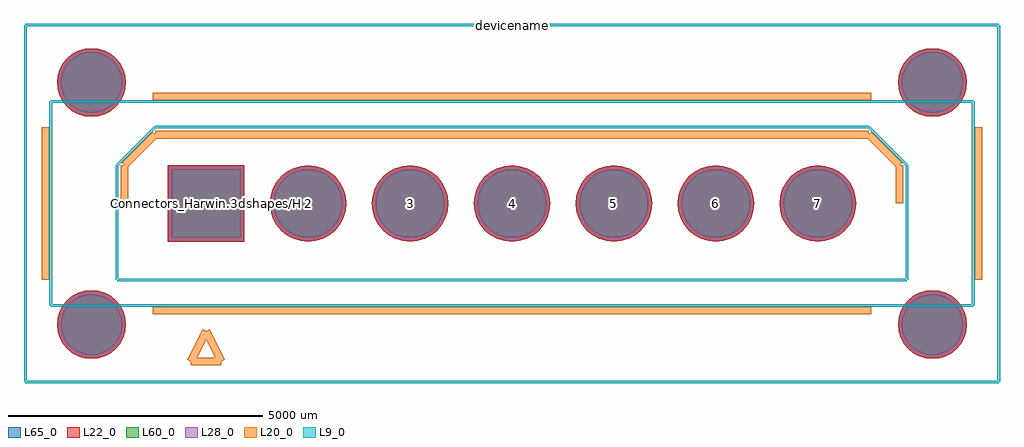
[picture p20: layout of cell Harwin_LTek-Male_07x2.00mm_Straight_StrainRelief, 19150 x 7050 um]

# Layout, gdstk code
import gdstk
lib = gdstk.Library(unit=1e-6, precision=1e-09)
def R(c, l, rs):  # rectangles x0, y0, x1, y1
    for r in rs: c.add(gdstk.rectangle(r[:2], r[2:], *l))
def P(c, l, *ps):  # polygons
    for p in ps: c.add(gdstk.Polygon(p, *l))
L9_0 = (9, 0)
L20_0 = (20, 0)
L22_0 = (22, 0)
L28_0 = (28, 0)
L60_0 = (60, 0)
L65_0 = (65, 0)

harwin_ltek_male_07x2_00 = lib.new_cell('Harwin_LTek-Male_07x2.00mm_Straight_StrainRelief')
R(harwin_ltek_male_07x2_00, L22_0, [(-750,-750,750,750)])
P(harwin_ltek_male_07x2_00, L22_0, [(14925,-2375),(14912.03,-2243.314),(14873.619,-2116.689),(14811.242,-1999.99),(14727.297,-1897.703),(14625.01,-1813.758),(14508.311,-1751.381),(14381.686,-1712.97),(14250,-1700),(14118.314,-1712.97),(13991.689,-1751.381),(13874.99,-1813.758),(13772.703,-1897.703),(13688.758,-1999.99),(13626.381,-2116.689),(13587.97,-2243.314),(13575,-2375),(13587.97,-2506.686),(13626.381,-2633.311),(13688.758,-2750.01),(13772.703,-2852.297),(13874.99,-2936.242),(13991.689,-2998.619),(14118.314,-3037.03),(14250,-3050),(14381.686,-3037.03),(14508.311,-2998.619),(14625.01,-2936.242),(14727.297,-2852.297),(14811.242,-2750.01),(14873.619,-2633.311),(14912.03,-2506.686)],
  [(14925,2375),(14912.03,2506.686),(14873.619,2633.311),(14811.242,2750.01),(14727.297,2852.297),(14625.01,2936.242),(14508.311,2998.619),(14381.686,3037.03),(14250,3050),(14118.314,3037.03),(13991.689,2998.619),(13874.99,2936.242),(13772.703,2852.297),(13688.758,2750.01),(13626.381,2633.311),(13587.97,2506.686),(13575,2375),(13587.97,2243.314),(13626.381,2116.689),(13688.758,1999.99),(13772.703,1897.703),(13874.99,1813.758),(13991.689,1751.381),(14118.314,1712.97),(14250,1700),(14381.686,1712.97),(14508.311,1751.381),(14625.01,1813.758),(14727.297,1897.703),(14811.242,1999.99),(14873.619,2116.689),(14912.03,2243.314)],
  [(-1575,-2375),(-1587.97,-2243.314),(-1626.381,-2116.689),(-1688.758,-1999.99),(-1772.703,-1897.703),(-1874.99,-1813.758),(-1991.689,-1751.381),(-2118.314,-1712.97),(-2250,-1700),(-2381.686,-1712.97),(-2508.311,-1751.381),(-2625.01,-1813.758),(-2727.297,-1897.703),(-2811.242,-1999.99),(-2873.619,-2116.689),(-2912.03,-2243.314),(-2925,-2375),(-2912.03,-2506.686),(-2873.619,-2633.311),(-2811.242,-2750.01),(-2727.297,-2852.297),(-2625.01,-2936.242),(-2508.311,-2998.619),(-2381.686,-3037.03),(-2250,-3050),(-2118.314,-3037.03),(-1991.689,-2998.619),(-1874.99,-2936.242),(-1772.703,-2852.297),(-1688.758,-2750.01),(-1626.381,-2633.311),(-1587.97,-2506.686)],
  [(-1575,2375),(-1587.97,2506.686),(-1626.381,2633.311),(-1688.758,2750.01),(-1772.703,2852.297),(-1874.99,2936.242),(-1991.689,2998.619),(-2118.314,3037.03),(-2250,3050),(-2381.686,3037.03),(-2508.311,2998.619),(-2625.01,2936.242),(-2727.297,2852.297),(-2811.242,2750.01),(-2873.619,2633.311),(-2912.03,2506.686),(-2925,2375),(-2912.03,2243.314),(-2873.619,2116.689),(-2811.242,1999.99),(-2727.297,1897.703),(-2625.01,1813.758),(-2508.311,1751.381),(-2381.686,1712.97),(-2250,1700),(-2118.314,1712.97),(-1991.689,1751.381),(-1874.99,1813.758),(-1772.703,1897.703),(-1688.758,1999.99),(-1626.381,2116.689),(-1587.97,2243.314)],
  [(12750,0),(12735.589,146.318),(12692.91,287.013),(12623.602,416.678),(12530.33,530.33),(12416.678,623.602),(12287.013,692.91),(12146.318,735.589),(12000,750),(11853.682,735.589),(11712.987,692.91),(11583.322,623.602),(11469.67,530.33),(11376.398,416.678),(11307.09,287.013),(11264.411,146.318),(11250,0),(11264.411,-146.318),(11307.09,-287.013),(11376.398,-416.678),(11469.67,-530.33),(11583.322,-623.602),(11712.987,-692.91),(11853.682,-735.589),(12000,-750),(12146.318,-735.589),(12287.013,-692.91),(12416.678,-623.602),(12530.33,-530.33),(12623.602,-416.678),(12692.91,-287.013),(12735.589,-146.318)],
  [(10750,0),(10735.589,146.318),(10692.91,287.013),(10623.602,416.678),(10530.33,530.33),(10416.678,623.602),(10287.013,692.91),(10146.318,735.589),(10000,750),(9853.682,735.589),(9712.987,692.91),(9583.322,623.602),(9469.67,530.33),(9376.398,416.678),(9307.09,287.013),(9264.411,146.318),(9250,0),(9264.411,-146.318),(9307.09,-287.013),(9376.398,-416.678),(9469.67,-530.33),(9583.322,-623.602),(9712.987,-692.91),(9853.682,-735.589),(10000,-750),(10146.318,-735.589),(10287.013,-692.91),(10416.678,-623.602),(10530.33,-530.33),(10623.602,-416.678),(10692.91,-287.013),(10735.589,-146.318)],
  [(8750,0),(8735.589,146.318),(8692.91,287.013),(8623.602,416.678),(8530.33,530.33),(8416.678,623.602),(8287.013,692.91),(8146.318,735.589),(8000,750),(7853.682,735.589),(7712.987,692.91),(7583.322,623.602),(7469.67,530.33),(7376.398,416.678),(7307.09,287.013),(7264.411,146.318),(7250,0),(7264.411,-146.318),(7307.09,-287.013),(7376.398,-416.678),(7469.67,-530.33),(7583.322,-623.602),(7712.987,-692.91),(7853.682,-735.589),(8000,-750),(8146.318,-735.589),(8287.013,-692.91),(8416.678,-623.602),(8530.33,-530.33),(8623.602,-416.678),(8692.91,-287.013),(8735.589,-146.318)],
  [(6750,0),(6735.589,146.318),(6692.91,287.013),(6623.602,416.678),(6530.33,530.33),(6416.678,623.602),(6287.013,692.91),(6146.318,735.589),(6000,750),(5853.682,735.589),(5712.987,692.91),(5583.322,623.602),(5469.67,530.33),(5376.398,416.678),(5307.09,287.013),(5264.411,146.318),(5250,0),(5264.411,-146.318),(5307.09,-287.013),(5376.398,-416.678),(5469.67,-530.33),(5583.322,-623.602),(5712.987,-692.91),(5853.682,-735.589),(6000,-750),(6146.318,-735.589),(6287.013,-692.91),(6416.678,-623.602),(6530.33,-530.33),(6623.602,-416.678),(6692.91,-287.013),(6735.589,-146.318)],
  [(4750,0),(4735.589,146.318),(4692.91,287.013),(4623.602,416.678),(4530.33,530.33),(4416.678,623.602),(4287.013,692.91),(4146.318,735.589),(4000,750),(3853.682,735.589),(3712.987,692.91),(3583.322,623.602),(3469.67,530.33),(3376.398,416.678),(3307.09,287.013),(3264.411,146.318),(3250,0),(3264.411,-146.318),(3307.09,-287.013),(3376.398,-416.678),(3469.67,-530.33),(3583.322,-623.602),(3712.987,-692.91),(3853.682,-735.589),(4000,-750),(4146.318,-735.589),(4287.013,-692.91),(4416.678,-623.602),(4530.33,-530.33),(4623.602,-416.678),(4692.91,-287.013),(4735.589,-146.318)],
  [(2750,0),(2735.589,146.318),(2692.91,287.013),(2623.602,416.678),(2530.33,530.33),(2416.678,623.602),(2287.013,692.91),(2146.318,735.589),(2000,750),(1853.682,735.589),(1712.987,692.91),(1583.322,623.602),(1469.67,530.33),(1376.398,416.678),(1307.09,287.013),(1264.411,146.318),(1250,0),(1264.411,-146.318),(1307.09,-287.013),(1376.398,-416.678),(1469.67,-530.33),(1583.322,-623.602),(1712.987,-692.91),(1853.682,-735.589),(2000,-750),(2146.318,-735.589),(2287.013,-692.91),(2416.678,-623.602),(2530.33,-530.33),(2623.602,-416.678),(2692.91,-287.013),(2735.589,-146.318)])
R(harwin_ltek_male_07x2_00, L28_0, [(-675,-675,675,675)])
P(harwin_ltek_male_07x2_00, L28_0, [(14850,-2375),(14838.471,-2257.946),(14804.328,-2145.39),(14748.882,-2041.658),(14674.264,-1950.736),(14583.342,-1876.118),(14479.61,-1820.672),(14367.054,-1786.529),(14250,-1775),(14132.946,-1786.529),(14020.39,-1820.672),(13916.658,-1876.118),(13825.736,-1950.736),(13751.118,-2041.658),(13695.672,-2145.39),(13661.529,-2257.946),(13650,-2375),(13661.529,-2492.054),(13695.672,-2604.61),(13751.118,-2708.342),(13825.736,-2799.264),(13916.658,-2873.882),(14020.39,-2929.328),(14132.946,-2963.471),(14250,-2975),(14367.054,-2963.471),(14479.61,-2929.328),(14583.342,-2873.882),(14674.264,-2799.264),(14748.882,-2708.342),(14804.328,-2604.61),(14838.471,-2492.054)],
  [(14850,2375),(14838.471,2492.054),(14804.328,2604.61),(14748.882,2708.342),(14674.264,2799.264),(14583.342,2873.882),(14479.61,2929.328),(14367.054,2963.471),(14250,2975),(14132.946,2963.471),(14020.39,2929.328),(13916.658,2873.882),(13825.736,2799.264),(13751.118,2708.342),(13695.672,2604.61),(13661.529,2492.054),(13650,2375),(13661.529,2257.946),(13695.672,2145.39),(13751.118,2041.658),(13825.736,1950.736),(13916.658,1876.118),(14020.39,1820.672),(14132.946,1786.529),(14250,1775),(14367.054,1786.529),(14479.61,1820.672),(14583.342,1876.118),(14674.264,1950.736),(14748.882,2041.658),(14804.328,2145.39),(14838.471,2257.946)],
  [(-1650,-2375),(-1661.529,-2257.946),(-1695.672,-2145.39),(-1751.118,-2041.658),(-1825.736,-1950.736),(-1916.658,-1876.118),(-2020.39,-1820.672),(-2132.946,-1786.529),(-2250,-1775),(-2367.054,-1786.529),(-2479.61,-1820.672),(-2583.342,-1876.118),(-2674.264,-1950.736),(-2748.882,-2041.658),(-2804.328,-2145.39),(-2838.471,-2257.946),(-2850,-2375),(-2838.471,-2492.054),(-2804.328,-2604.61),(-2748.882,-2708.342),(-2674.264,-2799.264),(-2583.342,-2873.882),(-2479.61,-2929.328),(-2367.054,-2963.471),(-2250,-2975),(-2132.946,-2963.471),(-2020.39,-2929.328),(-1916.658,-2873.882),(-1825.736,-2799.264),(-1751.118,-2708.342),(-1695.672,-2604.61),(-1661.529,-2492.054)],
  [(-1650,2375),(-1661.529,2492.054),(-1695.672,2604.61),(-1751.118,2708.342),(-1825.736,2799.264),(-1916.658,2873.882),(-2020.39,2929.328),(-2132.946,2963.471),(-2250,2975),(-2367.054,2963.471),(-2479.61,2929.328),(-2583.342,2873.882),(-2674.264,2799.264),(-2748.882,2708.342),(-2804.328,2604.61),(-2838.471,2492.054),(-2850,2375),(-2838.471,2257.946),(-2804.328,2145.39),(-2748.882,2041.658),(-2674.264,1950.736),(-2583.342,1876.118),(-2479.61,1820.672),(-2367.054,1786.529),(-2250,1775),(-2132.946,1786.529),(-2020.39,1820.672),(-1916.658,1876.118),(-1825.736,1950.736),(-1751.118,2041.658),(-1695.672,2145.39),(-1661.529,2257.946)],
  [(12675,0),(12662.03,131.686),(12623.619,258.311),(12561.242,375.01),(12477.297,477.297),(12375.01,561.242),(12258.311,623.619),(12131.686,662.03),(12000,675),(11868.314,662.03),(11741.689,623.619),(11624.99,561.242),(11522.703,477.297),(11438.758,375.01),(11376.381,258.311),(11337.97,131.686),(11325,0),(11337.97,-131.686),(11376.381,-258.311),(11438.758,-375.01),(11522.703,-477.297),(11624.99,-561.242),(11741.689,-623.619),(11868.314,-662.03),(12000,-675),(12131.686,-662.03),(12258.311,-623.619),(12375.01,-561.242),(12477.297,-477.297),(12561.242,-375.01),(12623.619,-258.311),(12662.03,-131.686)],
  [(10675,0),(10662.03,131.686),(10623.619,258.311),(10561.242,375.01),(10477.297,477.297),(10375.01,561.242),(10258.311,623.619),(10131.686,662.03),(10000,675),(9868.314,662.03),(9741.689,623.619),(9624.99,561.242),(9522.703,477.297),(9438.758,375.01),(9376.381,258.311),(9337.97,131.686),(9325,0),(9337.97,-131.686),(9376.381,-258.311),(9438.758,-375.01),(9522.703,-477.297),(9624.99,-561.242),(9741.689,-623.619),(9868.314,-662.03),(10000,-675),(10131.686,-662.03),(10258.311,-623.619),(10375.01,-561.242),(10477.297,-477.297),(10561.242,-375.01),(10623.619,-258.311),(10662.03,-131.686)],
  [(8675,0),(8662.03,131.686),(8623.619,258.311),(8561.242,375.01),(8477.297,477.297),(8375.01,561.242),(8258.311,623.619),(8131.686,662.03),(8000,675),(7868.314,662.03),(7741.689,623.619),(7624.99,561.242),(7522.703,477.297),(7438.758,375.01),(7376.381,258.311),(7337.97,131.686),(7325,0),(7337.97,-131.686),(7376.381,-258.311),(7438.758,-375.01),(7522.703,-477.297),(7624.99,-561.242),(7741.689,-623.619),(7868.314,-662.03),(8000,-675),(8131.686,-662.03),(8258.311,-623.619),(8375.01,-561.242),(8477.297,-477.297),(8561.242,-375.01),(8623.619,-258.311),(8662.03,-131.686)],
  [(6675,0),(6662.03,131.686),(6623.619,258.311),(6561.242,375.01),(6477.297,477.297),(6375.01,561.242),(6258.311,623.619),(6131.686,662.03),(6000,675),(5868.314,662.03),(5741.689,623.619),(5624.99,561.242),(5522.703,477.297),(5438.758,375.01),(5376.381,258.311),(5337.97,131.686),(5325,0),(5337.97,-131.686),(5376.381,-258.311),(5438.758,-375.01),(5522.703,-477.297),(5624.99,-561.242),(5741.689,-623.619),(5868.314,-662.03),(6000,-675),(6131.686,-662.03),(6258.311,-623.619),(6375.01,-561.242),(6477.297,-477.297),(6561.242,-375.01),(6623.619,-258.311),(6662.03,-131.686)],
  [(4675,0),(4662.03,131.686),(4623.619,258.311),(4561.242,375.01),(4477.297,477.297),(4375.01,561.242),(4258.311,623.619),(4131.686,662.03),(4000,675),(3868.314,662.03),(3741.689,623.619),(3624.99,561.242),(3522.703,477.297),(3438.758,375.01),(3376.381,258.311),(3337.97,131.686),(3325,0),(3337.97,-131.686),(3376.381,-258.311),(3438.758,-375.01),(3522.703,-477.297),(3624.99,-561.242),(3741.689,-623.619),(3868.314,-662.03),(4000,-675),(4131.686,-662.03),(4258.311,-623.619),(4375.01,-561.242),(4477.297,-477.297),(4561.242,-375.01),(4623.619,-258.311),(4662.03,-131.686)],
  [(2675,0),(2662.03,131.686),(2623.619,258.311),(2561.242,375.01),(2477.297,477.297),(2375.01,561.242),(2258.311,623.619),(2131.686,662.03),(2000,675),(1868.314,662.03),(1741.689,623.619),(1624.99,561.242),(1522.703,477.297),(1438.758,375.01),(1376.381,258.311),(1337.97,131.686),(1325,0),(1337.97,-131.686),(1376.381,-258.311),(1438.758,-375.01),(1522.703,-477.297),(1624.99,-561.242),(1741.689,-623.619),(1868.314,-662.03),(2000,-675),(2131.686,-662.03),(2258.311,-623.619),(2375.01,-561.242),(2477.297,-477.297),(2561.242,-375.01),(2623.619,-258.311),(2662.03,-131.686)])
R(harwin_ltek_male_07x2_00, L60_0, [(-675,-675,675,675)])
P(harwin_ltek_male_07x2_00, L60_0, [(14850,-2375),(14838.471,-2257.946),(14804.328,-2145.39),(14748.882,-2041.658),(14674.264,-1950.736),(14583.342,-1876.118),(14479.61,-1820.672),(14367.054,-1786.529),(14250,-1775),(14132.946,-1786.529),(14020.39,-1820.672),(13916.658,-1876.118),(13825.736,-1950.736),(13751.118,-2041.658),(13695.672,-2145.39),(13661.529,-2257.946),(13650,-2375),(13661.529,-2492.054),(13695.672,-2604.61),(13751.118,-2708.342),(13825.736,-2799.264),(13916.658,-2873.882),(14020.39,-2929.328),(14132.946,-2963.471),(14250,-2975),(14367.054,-2963.471),(14479.61,-2929.328),(14583.342,-2873.882),(14674.264,-2799.264),(14748.882,-2708.342),(14804.328,-2604.61),(14838.471,-2492.054)],
  [(14850,2375),(14838.471,2492.054),(14804.328,2604.61),(14748.882,2708.342),(14674.264,2799.264),(14583.342,2873.882),(14479.61,2929.328),(14367.054,2963.471),(14250,2975),(14132.946,2963.471),(14020.39,2929.328),(13916.658,2873.882),(13825.736,2799.264),(13751.118,2708.342),(13695.672,2604.61),(13661.529,2492.054),(13650,2375),(13661.529,2257.946),(13695.672,2145.39),(13751.118,2041.658),(13825.736,1950.736),(13916.658,1876.118),(14020.39,1820.672),(14132.946,1786.529),(14250,1775),(14367.054,1786.529),(14479.61,1820.672),(14583.342,1876.118),(14674.264,1950.736),(14748.882,2041.658),(14804.328,2145.39),(14838.471,2257.946)],
  [(-1650,-2375),(-1661.529,-2257.946),(-1695.672,-2145.39),(-1751.118,-2041.658),(-1825.736,-1950.736),(-1916.658,-1876.118),(-2020.39,-1820.672),(-2132.946,-1786.529),(-2250,-1775),(-2367.054,-1786.529),(-2479.61,-1820.672),(-2583.342,-1876.118),(-2674.264,-1950.736),(-2748.882,-2041.658),(-2804.328,-2145.39),(-2838.471,-2257.946),(-2850,-2375),(-2838.471,-2492.054),(-2804.328,-2604.61),(-2748.882,-2708.342),(-2674.264,-2799.264),(-2583.342,-2873.882),(-2479.61,-2929.328),(-2367.054,-2963.471),(-2250,-2975),(-2132.946,-2963.471),(-2020.39,-2929.328),(-1916.658,-2873.882),(-1825.736,-2799.264),(-1751.118,-2708.342),(-1695.672,-2604.61),(-1661.529,-2492.054)],
  [(-1650,2375),(-1661.529,2492.054),(-1695.672,2604.61),(-1751.118,2708.342),(-1825.736,2799.264),(-1916.658,2873.882),(-2020.39,2929.328),(-2132.946,2963.471),(-2250,2975),(-2367.054,2963.471),(-2479.61,2929.328),(-2583.342,2873.882),(-2674.264,2799.264),(-2748.882,2708.342),(-2804.328,2604.61),(-2838.471,2492.054),(-2850,2375),(-2838.471,2257.946),(-2804.328,2145.39),(-2748.882,2041.658),(-2674.264,1950.736),(-2583.342,1876.118),(-2479.61,1820.672),(-2367.054,1786.529),(-2250,1775),(-2132.946,1786.529),(-2020.39,1820.672),(-1916.658,1876.118),(-1825.736,1950.736),(-1751.118,2041.658),(-1695.672,2145.39),(-1661.529,2257.946)],
  [(12675,0),(12662.03,131.686),(12623.619,258.311),(12561.242,375.01),(12477.297,477.297),(12375.01,561.242),(12258.311,623.619),(12131.686,662.03),(12000,675),(11868.314,662.03),(11741.689,623.619),(11624.99,561.242),(11522.703,477.297),(11438.758,375.01),(11376.381,258.311),(11337.97,131.686),(11325,0),(11337.97,-131.686),(11376.381,-258.311),(11438.758,-375.01),(11522.703,-477.297),(11624.99,-561.242),(11741.689,-623.619),(11868.314,-662.03),(12000,-675),(12131.686,-662.03),(12258.311,-623.619),(12375.01,-561.242),(12477.297,-477.297),(12561.242,-375.01),(12623.619,-258.311),(12662.03,-131.686)],
  [(10675,0),(10662.03,131.686),(10623.619,258.311),(10561.242,375.01),(10477.297,477.297),(10375.01,561.242),(10258.311,623.619),(10131.686,662.03),(10000,675),(9868.314,662.03),(9741.689,623.619),(9624.99,561.242),(9522.703,477.297),(9438.758,375.01),(9376.381,258.311),(9337.97,131.686),(9325,0),(9337.97,-131.686),(9376.381,-258.311),(9438.758,-375.01),(9522.703,-477.297),(9624.99,-561.242),(9741.689,-623.619),(9868.314,-662.03),(10000,-675),(10131.686,-662.03),(10258.311,-623.619),(10375.01,-561.242),(10477.297,-477.297),(10561.242,-375.01),(10623.619,-258.311),(10662.03,-131.686)],
  [(8675,0),(8662.03,131.686),(8623.619,258.311),(8561.242,375.01),(8477.297,477.297),(8375.01,561.242),(8258.311,623.619),(8131.686,662.03),(8000,675),(7868.314,662.03),(7741.689,623.619),(7624.99,561.242),(7522.703,477.297),(7438.758,375.01),(7376.381,258.311),(7337.97,131.686),(7325,0),(7337.97,-131.686),(7376.381,-258.311),(7438.758,-375.01),(7522.703,-477.297),(7624.99,-561.242),(7741.689,-623.619),(7868.314,-662.03),(8000,-675),(8131.686,-662.03),(8258.311,-623.619),(8375.01,-561.242),(8477.297,-477.297),(8561.242,-375.01),(8623.619,-258.311),(8662.03,-131.686)],
  [(6675,0),(6662.03,131.686),(6623.619,258.311),(6561.242,375.01),(6477.297,477.297),(6375.01,561.242),(6258.311,623.619),(6131.686,662.03),(6000,675),(5868.314,662.03),(5741.689,623.619),(5624.99,561.242),(5522.703,477.297),(5438.758,375.01),(5376.381,258.311),(5337.97,131.686),(5325,0),(5337.97,-131.686),(5376.381,-258.311),(5438.758,-375.01),(5522.703,-477.297),(5624.99,-561.242),(5741.689,-623.619),(5868.314,-662.03),(6000,-675),(6131.686,-662.03),(6258.311,-623.619),(6375.01,-561.242),(6477.297,-477.297),(6561.242,-375.01),(6623.619,-258.311),(6662.03,-131.686)],
  [(4675,0),(4662.03,131.686),(4623.619,258.311),(4561.242,375.01),(4477.297,477.297),(4375.01,561.242),(4258.311,623.619),(4131.686,662.03),(4000,675),(3868.314,662.03),(3741.689,623.619),(3624.99,561.242),(3522.703,477.297),(3438.758,375.01),(3376.381,258.311),(3337.97,131.686),(3325,0),(3337.97,-131.686),(3376.381,-258.311),(3438.758,-375.01),(3522.703,-477.297),(3624.99,-561.242),(3741.689,-623.619),(3868.314,-662.03),(4000,-675),(4131.686,-662.03),(4258.311,-623.619),(4375.01,-561.242),(4477.297,-477.297),(4561.242,-375.01),(4623.619,-258.311),(4662.03,-131.686)],
  [(2675,0),(2662.03,131.686),(2623.619,258.311),(2561.242,375.01),(2477.297,477.297),(2375.01,561.242),(2258.311,623.619),(2131.686,662.03),(2000,675),(1868.314,662.03),(1741.689,623.619),(1624.99,561.242),(1522.703,477.297),(1438.758,375.01),(1376.381,258.311),(1337.97,131.686),(1325,0),(1337.97,-131.686),(1376.381,-258.311),(1438.758,-375.01),(1522.703,-477.297),(1624.99,-561.242),(1741.689,-623.619),(1868.314,-662.03),(2000,-675),(2131.686,-662.03),(2258.311,-623.619),(2375.01,-561.242),(2477.297,-477.297),(2561.242,-375.01),(2623.619,-258.311),(2662.03,-131.686)])
R(harwin_ltek_male_07x2_00, L65_0, [(-750,-750,750,750)])
P(harwin_ltek_male_07x2_00, L65_0, [(14925,-2375),(14912.03,-2243.314),(14873.619,-2116.689),(14811.242,-1999.99),(14727.297,-1897.703),(14625.01,-1813.758),(14508.311,-1751.381),(14381.686,-1712.97),(14250,-1700),(14118.314,-1712.97),(13991.689,-1751.381),(13874.99,-1813.758),(13772.703,-1897.703),(13688.758,-1999.99),(13626.381,-2116.689),(13587.97,-2243.314),(13575,-2375),(13587.97,-2506.686),(13626.381,-2633.311),(13688.758,-2750.01),(13772.703,-2852.297),(13874.99,-2936.242),(13991.689,-2998.619),(14118.314,-3037.03),(14250,-3050),(14381.686,-3037.03),(14508.311,-2998.619),(14625.01,-2936.242),(14727.297,-2852.297),(14811.242,-2750.01),(14873.619,-2633.311),(14912.03,-2506.686)],
  [(14925,2375),(14912.03,2506.686),(14873.619,2633.311),(14811.242,2750.01),(14727.297,2852.297),(14625.01,2936.242),(14508.311,2998.619),(14381.686,3037.03),(14250,3050),(14118.314,3037.03),(13991.689,2998.619),(13874.99,2936.242),(13772.703,2852.297),(13688.758,2750.01),(13626.381,2633.311),(13587.97,2506.686),(13575,2375),(13587.97,2243.314),(13626.381,2116.689),(13688.758,1999.99),(13772.703,1897.703),(13874.99,1813.758),(13991.689,1751.381),(14118.314,1712.97),(14250,1700),(14381.686,1712.97),(14508.311,1751.381),(14625.01,1813.758),(14727.297,1897.703),(14811.242,1999.99),(14873.619,2116.689),(14912.03,2243.314)],
  [(-1575,-2375),(-1587.97,-2243.314),(-1626.381,-2116.689),(-1688.758,-1999.99),(-1772.703,-1897.703),(-1874.99,-1813.758),(-1991.689,-1751.381),(-2118.314,-1712.97),(-2250,-1700),(-2381.686,-1712.97),(-2508.311,-1751.381),(-2625.01,-1813.758),(-2727.297,-1897.703),(-2811.242,-1999.99),(-2873.619,-2116.689),(-2912.03,-2243.314),(-2925,-2375),(-2912.03,-2506.686),(-2873.619,-2633.311),(-2811.242,-2750.01),(-2727.297,-2852.297),(-2625.01,-2936.242),(-2508.311,-2998.619),(-2381.686,-3037.03),(-2250,-3050),(-2118.314,-3037.03),(-1991.689,-2998.619),(-1874.99,-2936.242),(-1772.703,-2852.297),(-1688.758,-2750.01),(-1626.381,-2633.311),(-1587.97,-2506.686)],
  [(-1575,2375),(-1587.97,2506.686),(-1626.381,2633.311),(-1688.758,2750.01),(-1772.703,2852.297),(-1874.99,2936.242),(-1991.689,2998.619),(-2118.314,3037.03),(-2250,3050),(-2381.686,3037.03),(-2508.311,2998.619),(-2625.01,2936.242),(-2727.297,2852.297),(-2811.242,2750.01),(-2873.619,2633.311),(-2912.03,2506.686),(-2925,2375),(-2912.03,2243.314),(-2873.619,2116.689),(-2811.242,1999.99),(-2727.297,1897.703),(-2625.01,1813.758),(-2508.311,1751.381),(-2381.686,1712.97),(-2250,1700),(-2118.314,1712.97),(-1991.689,1751.381),(-1874.99,1813.758),(-1772.703,1897.703),(-1688.758,1999.99),(-1626.381,2116.689),(-1587.97,2243.314)],
  [(12750,0),(12735.589,146.318),(12692.91,287.013),(12623.602,416.678),(12530.33,530.33),(12416.678,623.602),(12287.013,692.91),(12146.318,735.589),(12000,750),(11853.682,735.589),(11712.987,692.91),(11583.322,623.602),(11469.67,530.33),(11376.398,416.678),(11307.09,287.013),(11264.411,146.318),(11250,0),(11264.411,-146.318),(11307.09,-287.013),(11376.398,-416.678),(11469.67,-530.33),(11583.322,-623.602),(11712.987,-692.91),(11853.682,-735.589),(12000,-750),(12146.318,-735.589),(12287.013,-692.91),(12416.678,-623.602),(12530.33,-530.33),(12623.602,-416.678),(12692.91,-287.013),(12735.589,-146.318)],
  [(10750,0),(10735.589,146.318),(10692.91,287.013),(10623.602,416.678),(10530.33,530.33),(10416.678,623.602),(10287.013,692.91),(10146.318,735.589),(10000,750),(9853.682,735.589),(9712.987,692.91),(9583.322,623.602),(9469.67,530.33),(9376.398,416.678),(9307.09,287.013),(9264.411,146.318),(9250,0),(9264.411,-146.318),(9307.09,-287.013),(9376.398,-416.678),(9469.67,-530.33),(9583.322,-623.602),(9712.987,-692.91),(9853.682,-735.589),(10000,-750),(10146.318,-735.589),(10287.013,-692.91),(10416.678,-623.602),(10530.33,-530.33),(10623.602,-416.678),(10692.91,-287.013),(10735.589,-146.318)],
  [(8750,0),(8735.589,146.318),(8692.91,287.013),(8623.602,416.678),(8530.33,530.33),(8416.678,623.602),(8287.013,692.91),(8146.318,735.589),(8000,750),(7853.682,735.589),(7712.987,692.91),(7583.322,623.602),(7469.67,530.33),(7376.398,416.678),(7307.09,287.013),(7264.411,146.318),(7250,0),(7264.411,-146.318),(7307.09,-287.013),(7376.398,-416.678),(7469.67,-530.33),(7583.322,-623.602),(7712.987,-692.91),(7853.682,-735.589),(8000,-750),(8146.318,-735.589),(8287.013,-692.91),(8416.678,-623.602),(8530.33,-530.33),(8623.602,-416.678),(8692.91,-287.013),(8735.589,-146.318)],
  [(6750,0),(6735.589,146.318),(6692.91,287.013),(6623.602,416.678),(6530.33,530.33),(6416.678,623.602),(6287.013,692.91),(6146.318,735.589),(6000,750),(5853.682,735.589),(5712.987,692.91),(5583.322,623.602),(5469.67,530.33),(5376.398,416.678),(5307.09,287.013),(5264.411,146.318),(5250,0),(5264.411,-146.318),(5307.09,-287.013),(5376.398,-416.678),(5469.67,-530.33),(5583.322,-623.602),(5712.987,-692.91),(5853.682,-735.589),(6000,-750),(6146.318,-735.589),(6287.013,-692.91),(6416.678,-623.602),(6530.33,-530.33),(6623.602,-416.678),(6692.91,-287.013),(6735.589,-146.318)],
  [(4750,0),(4735.589,146.318),(4692.91,287.013),(4623.602,416.678),(4530.33,530.33),(4416.678,623.602),(4287.013,692.91),(4146.318,735.589),(4000,750),(3853.682,735.589),(3712.987,692.91),(3583.322,623.602),(3469.67,530.33),(3376.398,416.678),(3307.09,287.013),(3264.411,146.318),(3250,0),(3264.411,-146.318),(3307.09,-287.013),(3376.398,-416.678),(3469.67,-530.33),(3583.322,-623.602),(3712.987,-692.91),(3853.682,-735.589),(4000,-750),(4146.318,-735.589),(4287.013,-692.91),(4416.678,-623.602),(4530.33,-530.33),(4623.602,-416.678),(4692.91,-287.013),(4735.589,-146.318)],
  [(2750,0),(2735.589,146.318),(2692.91,287.013),(2623.602,416.678),(2530.33,530.33),(2416.678,623.602),(2287.013,692.91),(2146.318,735.589),(2000,750),(1853.682,735.589),(1712.987,692.91),(1583.322,623.602),(1469.67,530.33),(1376.398,416.678),(1307.09,287.013),(1264.411,146.318),(1250,0),(1264.411,-146.318),(1307.09,-287.013),(1376.398,-416.678),(1469.67,-530.33),(1583.322,-623.602),(1712.987,-692.91),(1853.682,-735.589),(2000,-750),(2146.318,-735.589),(2287.013,-692.91),(2416.678,-623.602),(2530.33,-530.33),(2623.602,-416.678),(2692.91,-287.013),(2735.589,-146.318)])
harwin_ltek_male_07x2_00.add(gdstk.FlexPath([(300,-3100),(0,-2500)], 149.998, ends="flush", simple_path=True, layer=20, datatype=0))  # L20_0
harwin_ltek_male_07x2_00.add(gdstk.FlexPath([(-300,-3100),(300,-3100)], 149.998, ends="flush", simple_path=True, layer=20, datatype=0))  # L20_0
harwin_ltek_male_07x2_00.add(gdstk.FlexPath([(0,-2500),(-300,-3100)], 149.998, ends="flush", simple_path=True, layer=20, datatype=0))  # L20_0
harwin_ltek_male_07x2_00.add(gdstk.FlexPath([(13000,1350),(6000,1350)], 149.998, ends="flush", simple_path=True, layer=20, datatype=0))  # L20_0
harwin_ltek_male_07x2_00.add(gdstk.FlexPath([(13600,750),(13000,1350)], 149.998, ends="flush", simple_path=True, layer=20, datatype=0))  # L20_0
harwin_ltek_male_07x2_00.add(gdstk.FlexPath([(13600,0),(13600,750)], 149.998, ends="flush", simple_path=True, layer=20, datatype=0))  # L20_0
harwin_ltek_male_07x2_00.add(gdstk.FlexPath([(-1000,1350),(6000,1350)], 149.998, ends="flush", simple_path=True, layer=20, datatype=0))  # L20_0
harwin_ltek_male_07x2_00.add(gdstk.FlexPath([(-1600,750),(-1000,1350)], 149.998, ends="flush", simple_path=True, layer=20, datatype=0))  # L20_0
harwin_ltek_male_07x2_00.add(gdstk.FlexPath([(-1600,0),(-1600,750)], 149.998, ends="flush", simple_path=True, layer=20, datatype=0))  # L20_0
harwin_ltek_male_07x2_00.add(gdstk.FlexPath([(13750,-1500),(-1750,-1500)], 50, ends="flush", simple_path=True, layer=9, datatype=0))  # L9_0
harwin_ltek_male_07x2_00.add(gdstk.FlexPath([(13750,750),(13750,-1500)], 50, ends="flush", simple_path=True, layer=9, datatype=0))  # L9_0
harwin_ltek_male_07x2_00.add(gdstk.FlexPath([(13000,1500),(13750,750)], 50, ends="flush", simple_path=True, layer=9, datatype=0))  # L9_0
harwin_ltek_male_07x2_00.add(gdstk.FlexPath([(-1000,1500),(13000,1500)], 50, ends="flush", simple_path=True, layer=9, datatype=0))  # L9_0
harwin_ltek_male_07x2_00.add(gdstk.FlexPath([(-1750,750),(-1000,1500)], 50, ends="flush", simple_path=True, layer=9, datatype=0))  # L9_0
harwin_ltek_male_07x2_00.add(gdstk.FlexPath([(-1750,-1500),(-1750,750)], 50, ends="flush", simple_path=True, layer=9, datatype=0))  # L9_0
harwin_ltek_male_07x2_00.add(gdstk.FlexPath([(15050,2000),(-3050,2000)], 50, ends="flush", simple_path=True, layer=9, datatype=0))  # L9_0
harwin_ltek_male_07x2_00.add(gdstk.FlexPath([(15050,-2000),(15050,2000)], 50, ends="flush", simple_path=True, layer=9, datatype=0))  # L9_0
harwin_ltek_male_07x2_00.add(gdstk.FlexPath([(-3050,-2000),(15050,-2000)], 50, ends="flush", simple_path=True, layer=9, datatype=0))  # L9_0
harwin_ltek_male_07x2_00.add(gdstk.FlexPath([(-3050,2000),(-3050,-2000)], 50, ends="flush", simple_path=True, layer=9, datatype=0))  # L9_0
harwin_ltek_male_07x2_00.add(gdstk.FlexPath([(15550,3500),(-3550,3500)], 50, ends="flush", simple_path=True, layer=9, datatype=0))  # L9_0
harwin_ltek_male_07x2_00.add(gdstk.FlexPath([(15550,-3500),(15550,3500)], 50, ends="flush", simple_path=True, layer=9, datatype=0))  # L9_0
harwin_ltek_male_07x2_00.add(gdstk.FlexPath([(-3550,-3500),(15550,-3500)], 50, ends="flush", simple_path=True, layer=9, datatype=0))  # L9_0
harwin_ltek_male_07x2_00.add(gdstk.FlexPath([(-3550,3500),(-3550,-3500)], 50, ends="flush", simple_path=True, layer=9, datatype=0))  # L9_0
harwin_ltek_male_07x2_00.add(gdstk.FlexPath([(15150,1500),(15150,-1500)], 149.998, ends="flush", simple_path=True, layer=20, datatype=0))  # L20_0
harwin_ltek_male_07x2_00.add(gdstk.FlexPath([(-3150,1500),(-3150,-1500)], 149.998, ends="flush", simple_path=True, layer=20, datatype=0))  # L20_0
harwin_ltek_male_07x2_00.add(gdstk.FlexPath([(-1050,-2100),(13050,-2100)], 149.998, ends="flush", simple_path=True, layer=20, datatype=0))  # L20_0
harwin_ltek_male_07x2_00.add(gdstk.FlexPath([(-1050,2100),(13050,2100)], 149.998, ends="flush", simple_path=True, layer=20, datatype=0))  # L20_0
harwin_ltek_male_07x2_00.add(gdstk.Label('Connectors_Harwin.3dshapes/Harwin_LTek-Male_07x2.00mm_Straight_StrainRelief.wrl', (0,0), layer=12, texttype=0))
harwin_ltek_male_07x2_00.add(gdstk.Label('7', (12000,0), layer=28, texttype=0))
harwin_ltek_male_07x2_00.add(gdstk.Label('6', (10000,0), layer=28, texttype=0))
harwin_ltek_male_07x2_00.add(gdstk.Label('5', (8000,0), layer=28, texttype=0))
harwin_ltek_male_07x2_00.add(gdstk.Label('4', (6000,0), layer=28, texttype=0))
harwin_ltek_male_07x2_00.add(gdstk.Label('3', (4000,0), layer=28, texttype=0))
harwin_ltek_male_07x2_00.add(gdstk.Label('2', (2000,0), layer=28, texttype=0))
harwin_ltek_male_07x2_00.add(gdstk.Label('1', (0,0), layer=28, texttype=0))
harwin_ltek_male_07x2_00.add(gdstk.Label('type', (6000,-4000), layer=9, texttype=0))
harwin_ltek_male_07x2_00.add(gdstk.Label('devicename', (6000,3500), layer=9, texttype=0))

lib.write_gds('Harwin_LTek-Male_07x2.00mm_Straight_StrainRelief.gds')
